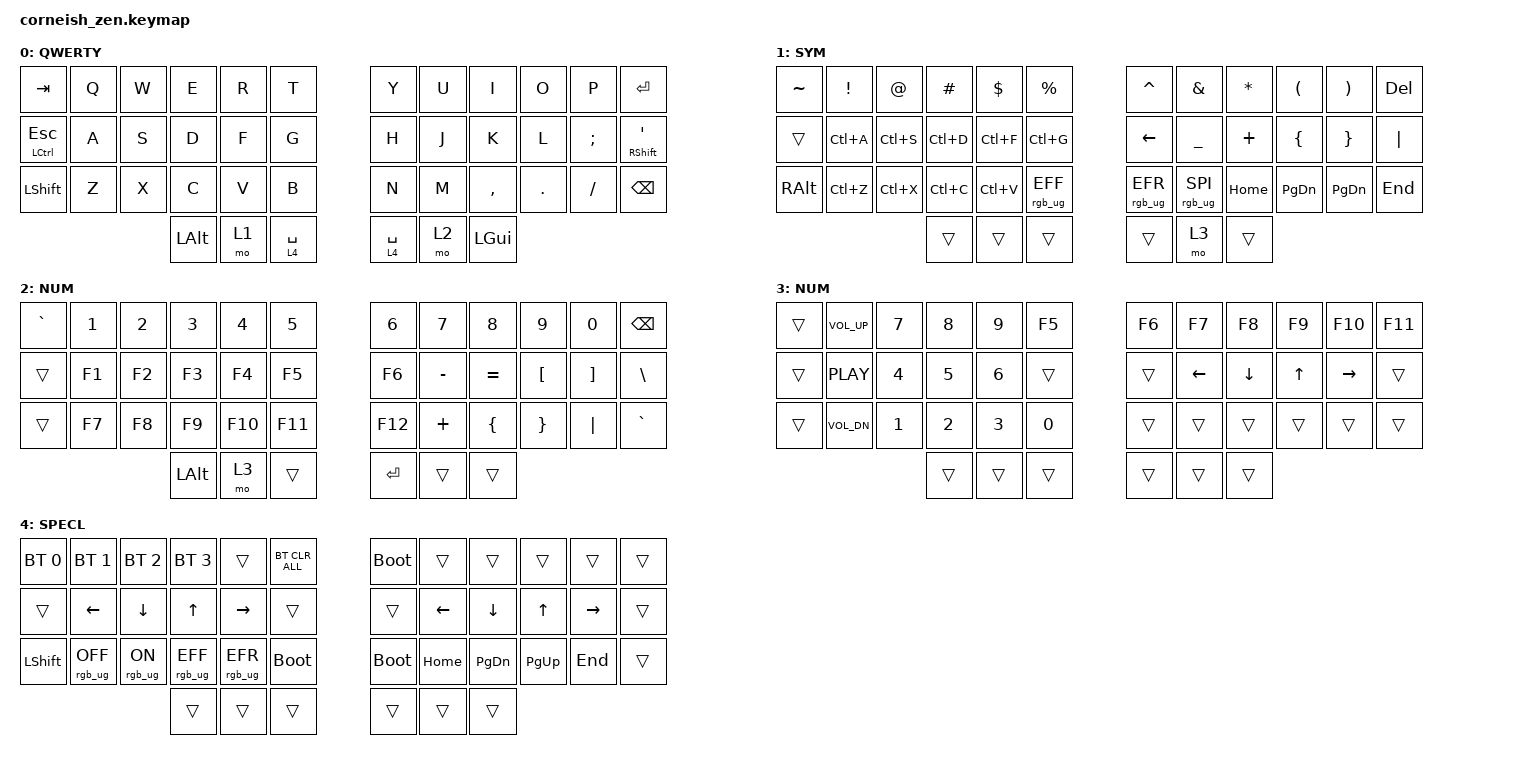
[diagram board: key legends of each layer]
/*
 * Copyright (c) 2020 The ZMK Contributors
 *
 * SPDX-License-Identifier: MIT
 */

#include <behaviors.dtsi>
#include <dt-bindings/zmk/bt.h>
#include <dt-bindings/zmk/keys.h>
#include <dt-bindings/zmk/rgb.h>

/ {
    chosen {
        zmk,matrix_transform = &default_transform;

        // zmk,matrix_transform = &five_column_transform;
    };
};

/ {
    behaviors {
        td0: td0 {
            compatible = "zmk,behavior-tap-dance";
            label = "TD0";
            #binding-cells = <0>;
            bindings = <&kp LEFT_SHIFT>, <&kp CAPS>;
        };
    };

    keymap {
        compatible = "zmk,keymap";

        default_layer {
            display-name = "QWERTY";

            // --------------------------------------------------------------------------------
            // |  TAB |  Q  |  W  |  E  |  R  |  T  |   |  Y  |  U   |  I  |  O  |  P  | BKSP |
            // | CTRL |  A  |  S  |  D  |  F  |  G  |   |  H  |  J   |  K  |  L  |  ;  |  '   | 
            // | SHFT |  Z  |  X  |  C  |  V  |  B  |   |  N  |  M   |  ,  |  .  |  /  | ESC  |
            //                    | GUI | LWR | SPC |   | ENT | RSE  | ALT |

            bindings = <
&kp TAB         &kp Q  &kp W  &kp E         &kp R  &kp T          &kp Y        &kp U  &kp I         &kp O    &kp P     &kp ENTER
&mt LCTRL ESC   &kp A  &kp S  &kp D         &kp F  &kp G          &kp H        &kp J  &kp K         &kp L    &kp SEMI  &mt RIGHT_SHIFT SINGLE_QUOTE
&kp LEFT_SHIFT  &kp Z  &kp X  &kp C         &kp V  &kp B          &kp N        &kp M  &kp COMMA     &kp DOT  &kp FSLH  &kp BACKSPACE
                              &kp LEFT_ALT  &mo 1  &lt 4 SPACE    &lt 4 SPACE  &mo 2  &kp LEFT_GUI
            >;
        };

        Layer1 {
            display-name = "SYM";

            // -----------------------------------------------------------------------------------------
            // |  TAB |  1  |  2  |  3  |  4  |  5  |   |  6  |  7  |  8  |  9  |  0  | BKSP |
            // | BTCLR| BT1 | BT2 | BT3 | BT4 | BT5 |   | LFT | DWN |  UP | RGT |     |      |
            // | SHFT |     |     |     |     |     |   |     |     |     |     |     |      |
            //                    | GUI |     | SPC |   | ENT |     | ALT |

            bindings = <
&kp TILDE      &kp EXCLAMATION  &kp AT_SIGN  &kp HASH   &kp DOLLAR  &kp PERCENT        &kp CARET        &kp AMPERSAND    &kp ASTERISK  &kp LEFT_PARENTHESIS  &kp RIGHT_PARENTHESIS  &kp DEL
&trans         &kp LC(A)        &kp LC(S)    &kp LC(D)  &kp LC(F)   &kp LC(G)          &kp LEFT         &kp UNDERSCORE   &kp PLUS      &kp LEFT_BRACE        &kp RIGHT_BRACE        &kp PIPE
&kp RIGHT_ALT  &kp LC(Z)        &kp LC(X)    &kp LC(C)  &kp LC(V)   &rgb_ug RGB_EFF    &rgb_ug RGB_EFR  &rgb_ug RGB_SPI  &kp HOME      &kp PAGE_DOWN         &kp PAGE_DOWN          &kp END
                                             &trans     &trans      &trans             &trans           &mo 3            &trans
            >;
        };

        Layer2 {
            display-name = "NUM";

            // -----------------------------------------------------------------------------------------
            // |  TAB |  !  |  @  |  #  |  $  |  %  |   |  ^  |  &  |  *  |  (  |  )  | BKSP |
            // | CTRL |     |     |     |     |     |   |  -  |  =  |  [  |  ]  |  \  |  `   |
            // | SHFT |     |     |     |     |     |   |  _  |  +  |  {  |  }  | "|" |  ~   |
            //                    | GUI |     | SPC |   | ENT |     | ALT |

            bindings = <
&kp GRAVE  &kp NUMBER_1  &kp NUMBER_2  &kp NUMBER_3  &kp NUMBER_4  &kp N5     &kp NUMBER_6  &kp N7     &kp N8     &kp N9            &kp N0             &kp BSPC
&trans     &kp F1        &kp F2        &kp F3        &kp F4        &kp F5     &kp F6        &kp MINUS  &kp EQUAL  &kp LEFT_BRACKET  &kp RIGHT_BRACKET  &kp BACKSLASH
&trans     &kp F7        &kp F8        &kp F9        &kp F10       &kp F11    &kp F12       &kp PLUS   &kp LBRC   &kp RBRC          &kp PIPE           &kp GRAVE
                                       &kp LEFT_ALT  &mo 3         &trans     &kp RET       &trans     &trans
            >;
        };

        Layer3 {
            display-name = "NUM";
            bindings = <
&trans  &kp C_VOLUME_UP  &kp N7        &kp N8        &kp N9        &kp F5    &kp F6  &kp F7    &kp F8    &kp F9        &kp F10    &kp F11
&trans  &kp C_PLAY       &kp NUMBER_4  &kp N5        &kp NUMBER_6  &trans    &trans  &kp LEFT  &kp DOWN  &kp UP_ARROW  &kp RIGHT  &trans
&trans  &kp C_VOL_DN     &kp NUMBER_1  &kp NUMBER_2  &kp NUMBER_3  &kp N0    &trans  &trans    &trans    &trans        &trans     &trans
                                       &trans        &trans        &trans    &trans  &trans    &trans
            >;
        };

        Layer4 {
            bindings = <
&bt BT_SEL 0    &bt BT_SEL 1     &bt BT_SEL 2    &bt BT_SEL 3     &trans           &bt BT_CLR_ALL    &bootloader  &trans          &trans         &trans        &trans     &trans
&trans          &kp LEFT_ARROW   &kp DOWN        &kp UP_ARROW     &kp RIGHT        &trans            &trans       &kp LEFT_ARROW  &kp DOWN       &kp UP_ARROW  &kp RIGHT  &trans
&kp LEFT_SHIFT  &rgb_ug RGB_OFF  &rgb_ug RGB_ON  &rgb_ug RGB_EFF  &rgb_ug RGB_EFR  &bootloader       &bootloader  &kp HOME        &kp PAGE_DOWN  &kp PAGE_UP   &kp END    &trans
                                                 &trans           &trans           &trans            &trans       &trans          &trans
            >;

            label = "SPECL";
        };
    };
};
